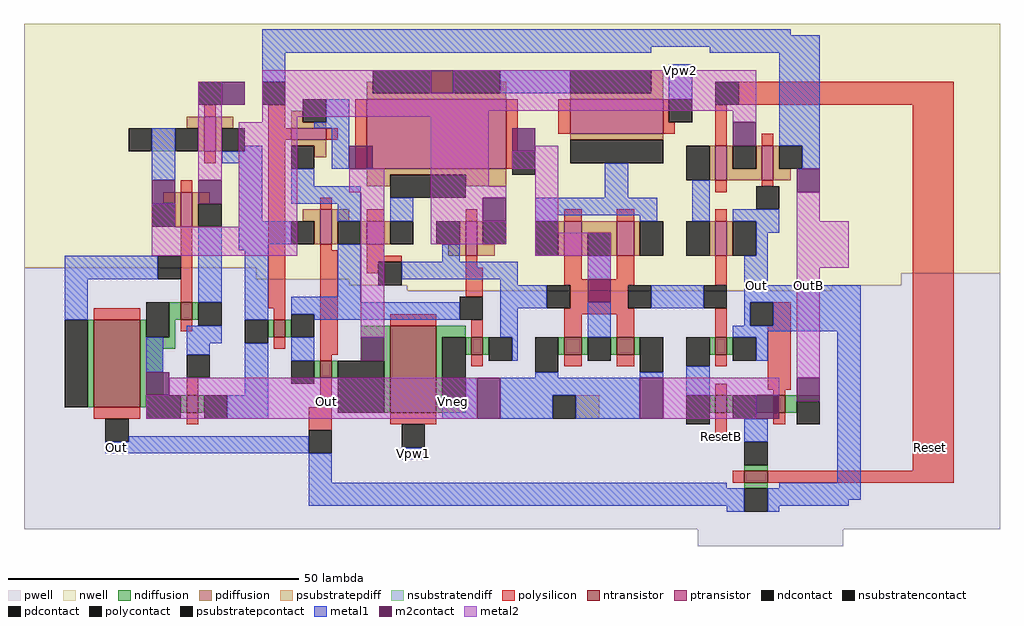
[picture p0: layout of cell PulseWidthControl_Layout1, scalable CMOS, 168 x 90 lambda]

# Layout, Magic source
magic
tech scmos
<< nwell >>
rect -27 53 141 95
rect 13 52 141 53
rect 13 51 124 52
rect 29 50 124 51
rect 39 49 112 50
<< pwell >>
rect -27 51 13 53
rect -27 50 29 51
rect 124 50 141 52
rect -27 49 39 50
rect 112 49 141 50
rect -27 8 141 49
rect 89 5 114 8
<< ntransistor >>
rect -15 29 -7 44
rect 0 44 2 47
rect 16 41 18 44
rect 24 34 26 37
rect 1 28 3 31
rect 36 28 44 43
rect 50 38 52 41
rect 66 38 69 41
rect 75 38 78 41
rect 92 38 94 41
rect 92 28 94 31
rect 102 28 104 31
rect 97 16 101 18
<< ptransistor >>
rect 4 73 6 79
rect 19 75 25 77
rect 0 60 2 66
rect 32 70 56 82
rect 67 76 83 82
rect 92 68 94 74
rect 100 68 102 74
rect 24 57 26 63
rect 32 57 35 61
rect 49 55 51 61
rect 66 55 69 61
rect 75 55 78 61
rect 92 55 94 61
<< ndiffusion >>
rect -16 29 -15 44
rect -7 41 -6 44
rect -2 44 0 47
rect 2 44 3 47
rect -2 41 -1 44
rect -7 39 -1 41
rect 15 41 16 44
rect 18 41 19 44
rect -7 31 -3 39
rect 31 37 36 43
rect 23 34 24 37
rect 26 34 27 37
rect -7 29 -6 31
rect 0 28 1 31
rect 3 28 4 31
rect 35 28 36 37
rect 44 41 49 43
rect 44 30 45 41
rect 49 38 50 41
rect 52 38 53 41
rect 65 38 66 41
rect 69 38 70 41
rect 74 38 75 41
rect 78 38 79 41
rect 91 38 92 41
rect 94 38 95 41
rect 44 28 49 30
rect 91 28 92 31
rect 94 28 95 31
rect 99 28 102 31
rect 104 30 110 31
rect 104 28 106 30
rect 97 18 101 19
rect 97 15 101 16
<< pdiffusion >>
rect 32 83 33 85
rect 43 83 47 87
rect 55 83 56 85
rect 32 82 56 83
rect 81 83 83 87
rect 67 82 83 83
rect 1 77 4 79
rect 3 73 4 77
rect 6 77 9 79
rect 19 78 21 80
rect 19 77 25 78
rect 6 73 7 77
rect -3 64 0 66
rect -1 60 0 64
rect 2 64 5 66
rect 2 60 3 64
rect 19 74 25 75
rect 23 72 25 74
rect 67 75 83 76
rect 32 69 56 70
rect 32 67 36 69
rect 49 67 56 69
rect 91 68 92 74
rect 94 70 95 74
rect 99 70 100 74
rect 94 68 100 70
rect 102 70 103 74
rect 102 68 105 70
rect 21 61 24 63
rect 23 57 24 61
rect 26 61 29 63
rect 26 57 27 61
rect 31 57 32 61
rect 35 57 36 61
rect 48 57 49 61
rect 46 55 49 57
rect 51 57 52 61
rect 51 55 54 57
rect 65 55 66 61
rect 69 59 75 61
rect 69 55 70 59
rect 74 55 75 59
rect 78 55 79 61
rect 91 55 92 61
rect 94 55 95 61
<< ndcontact >>
rect -20 29 -16 44
rect -6 41 -2 47
rect 3 43 7 47
rect 11 40 15 44
rect 19 41 23 45
rect 19 33 23 37
rect -6 27 0 31
rect 4 27 8 31
rect 27 28 35 37
rect 45 30 49 41
rect 53 37 57 41
rect 61 35 65 41
rect 70 37 74 41
rect 79 35 83 41
rect 87 36 91 41
rect 95 37 99 41
rect 87 26 91 31
rect 95 27 99 31
rect 106 26 110 30
rect 97 19 101 23
rect 97 11 101 15
<< pdcontact >>
rect 33 83 43 87
rect 47 83 55 87
rect 67 83 81 87
rect -1 73 3 77
rect 21 78 25 82
rect 7 73 11 77
rect -5 60 -1 64
rect 3 60 7 64
rect 19 70 23 74
rect 67 71 83 75
rect 36 65 49 69
rect 87 68 91 74
rect 95 70 99 74
rect 103 70 107 74
rect 19 57 23 61
rect 27 57 31 61
rect 36 57 40 61
rect 44 57 48 61
rect 52 57 56 61
rect 61 55 65 61
rect 70 55 74 59
rect 79 55 83 61
rect 87 55 91 61
rect 95 55 99 61
<< psubstratepdiff >>
rect 68 27 72 31
<< nsubstratendiff >>
rect -5 73 -1 77
<< psubstratepcontact >>
rect 64 27 68 31
<< nsubstratencontact >>
rect -9 73 -5 77
<< polysilicon >>
rect 4 79 6 81
rect 15 77 18 81
rect 15 75 19 77
rect 25 75 27 77
rect 4 71 6 73
rect 0 66 2 68
rect 0 47 2 60
rect -15 44 -7 46
rect 0 42 2 44
rect 15 46 18 75
rect 30 70 32 82
rect 56 73 58 82
rect 65 76 67 82
rect 83 78 84 82
rect 96 81 133 85
rect 83 76 85 78
rect 56 70 57 73
rect 92 74 94 81
rect 100 74 102 76
rect 92 66 94 68
rect 100 67 102 68
rect 24 63 26 65
rect 32 61 35 63
rect 49 61 51 63
rect 66 61 69 63
rect 75 61 78 63
rect 92 61 94 63
rect 16 44 18 46
rect 24 56 26 57
rect 16 39 18 41
rect 24 38 27 56
rect 32 55 35 57
rect 32 54 38 55
rect 32 52 34 54
rect 49 53 51 55
rect 49 48 52 53
rect 66 51 69 55
rect 75 51 78 55
rect 66 50 78 51
rect 92 50 94 55
rect 36 43 44 45
rect 67 46 77 50
rect 24 37 26 38
rect 1 31 3 34
rect -15 27 -7 29
rect 1 26 3 28
rect 24 29 26 34
rect 22 25 26 29
rect 50 41 52 44
rect 66 45 78 46
rect 66 41 69 45
rect 75 41 78 45
rect 92 41 94 46
rect 102 43 105 47
rect 50 36 52 38
rect 66 36 69 38
rect 75 36 78 38
rect 92 36 94 38
rect 92 31 94 33
rect 101 32 105 43
rect 102 31 104 32
rect 36 26 44 28
rect 92 23 94 28
rect 102 26 104 28
rect 126 18 133 81
rect 95 16 97 18
rect 101 16 133 18
<< polycontact >>
rect 3 81 7 85
rect 14 81 18 85
rect -4 51 0 55
rect 84 78 88 82
rect 92 81 96 85
rect 57 69 61 73
rect 99 63 103 67
rect 34 50 38 54
rect 48 44 52 48
rect 63 46 67 50
rect 77 46 81 50
rect 90 46 94 50
rect 1 34 5 38
rect -13 23 -9 27
rect 98 43 102 47
rect 22 21 26 25
rect 38 22 42 26
<< metal1 >>
rect 14 93 105 94
rect 14 91 110 93
rect 14 90 81 91
rect 91 90 110 91
rect 14 85 18 90
rect 55 83 67 87
rect 84 82 88 88
rect 25 78 29 82
rect 23 77 29 78
rect -5 68 -1 77
rect 11 73 14 74
rect 7 71 14 73
rect -20 51 -4 55
rect -20 44 -16 51
rect 3 47 7 60
rect 10 61 14 71
rect 26 70 29 77
rect 19 67 23 70
rect 19 64 31 67
rect 27 61 31 64
rect 10 57 19 61
rect 73 65 77 71
rect 103 74 110 90
rect 107 70 110 74
rect 36 61 40 65
rect 61 62 82 65
rect 61 61 65 62
rect 10 56 15 57
rect -6 35 -3 41
rect 1 40 7 43
rect 11 44 15 56
rect 27 48 31 57
rect 45 54 48 57
rect 79 61 82 62
rect 88 61 91 68
rect 95 61 103 63
rect 99 59 103 61
rect 99 55 101 59
rect 38 51 58 54
rect 55 50 58 51
rect 70 51 74 55
rect 1 38 5 40
rect 11 31 15 40
rect 19 47 31 48
rect 19 45 48 47
rect 23 44 48 45
rect 55 46 63 50
rect 97 50 101 55
rect 55 41 58 46
rect 70 41 74 47
rect 81 46 90 50
rect 97 47 117 50
rect 97 43 98 47
rect 102 43 117 47
rect 95 42 117 43
rect 95 41 101 42
rect 19 37 23 41
rect 8 27 15 31
rect 57 37 58 41
rect 61 34 65 35
rect 79 34 83 35
rect 49 30 51 34
rect 45 27 51 30
rect 55 31 79 34
rect 55 27 64 31
rect 68 27 79 31
rect 99 37 101 41
rect 87 31 91 36
rect -9 23 22 24
rect -13 21 22 23
rect 22 16 26 21
rect 38 20 42 22
rect 97 23 101 27
rect 113 16 117 42
rect 22 15 94 16
rect 103 15 117 16
rect 22 12 97 15
rect 94 11 97 12
rect 101 13 117 15
rect 101 12 115 13
rect 101 11 103 12
<< m2contact >>
rect 7 81 11 85
rect 43 83 47 87
rect -5 64 -1 68
rect 3 64 7 68
rect 29 70 33 74
rect 57 73 61 77
rect 95 74 99 78
rect 52 61 56 65
rect 106 66 110 70
rect -6 31 -2 35
rect 70 47 74 51
rect 31 37 35 41
rect 51 27 55 34
rect 79 27 83 34
rect 99 27 103 31
rect 106 30 110 34
<< metal2 >>
rect 3 68 7 85
rect 14 83 43 87
rect 47 83 99 87
rect 14 80 99 83
rect 14 79 53 80
rect 14 78 20 79
rect -5 60 -1 64
rect 10 60 20 78
rect 29 66 35 70
rect -5 55 20 60
rect 31 41 35 66
rect 43 67 53 79
rect 95 78 99 80
rect 61 73 65 74
rect 57 70 65 73
rect 43 65 56 67
rect 43 61 52 65
rect 43 57 56 61
rect 61 59 65 70
rect 106 61 110 66
rect 61 55 74 59
rect 70 51 74 55
rect 106 53 115 61
rect 106 34 110 53
rect -2 31 51 34
rect -6 27 51 31
rect 83 31 103 34
rect 83 27 99 31
<< labels >>
rlabel metal1 -11 22 -11 22 1 Out
rlabel metal1 40 21 40 21 1 Vpw1
rlabel metal1 86 87 86 87 6 Vpw2
rlabel metal2 108 50 108 50 7 OutB
rlabel metal1 99 50 99 50 1 Out
rlabel polysilicon 129 22 129 22 7 Reset
rlabel polysilicon 93 24 93 24 1 ResetB
rlabel polysilicon 25 30 25 30 1 Out
rlabel ndcontact 47 30 47 30 7 Vneg
<< end >>
